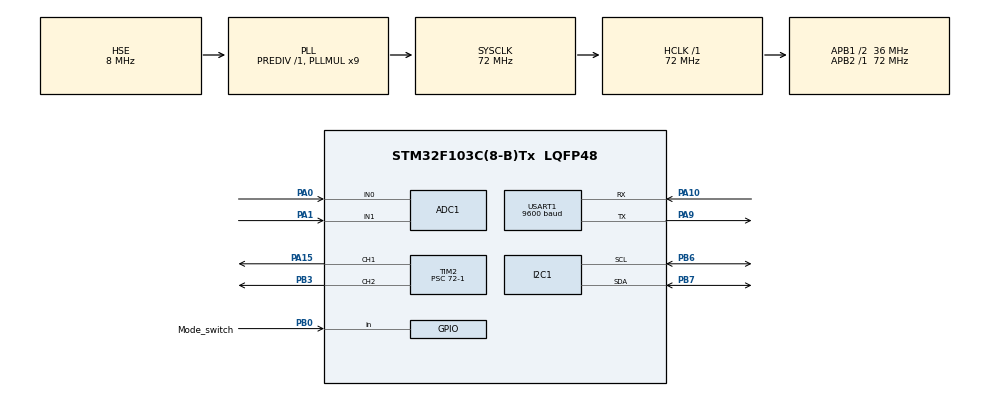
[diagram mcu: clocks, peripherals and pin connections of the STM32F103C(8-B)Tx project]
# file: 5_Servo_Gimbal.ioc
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ADC1.Channel-2\#ChannelRegularConversion=ADC_CHANNEL_0
ADC1.Channel-3\#ChannelRegularConversion=ADC_CHANNEL_0
ADC1.ContinuousConvMode=ENABLE
ADC1.NbrOfConversion=2
ADC1.NbrOfConversionFlag=1
ADC1.Rank-2\#ChannelRegularConversion=1
ADC1.Rank-3\#ChannelRegularConversion=2
ADC1.SamplingTime-2\#ChannelRegularConversion=ADC_SAMPLETIME_1CYCLE_5
ADC1.SamplingTime-3\#ChannelRegularConversion=ADC_SAMPLETIME_1CYCLE_5
ADC1.master=1
Dma.ADC1.4.Direction=DMA_PERIPH_TO_MEMORY
Dma.ADC1.4.Instance=DMA1_Channel1
Dma.ADC1.4.MemDataAlignment=DMA_MDATAALIGN_HALFWORD
Dma.ADC1.4.MemInc=DMA_MINC_ENABLE
Dma.ADC1.4.Mode=DMA_CIRCULAR
Dma.ADC1.4.PeriphDataAlignment=DMA_PDATAALIGN_HALFWORD
Dma.ADC1.4.PeriphInc=DMA_PINC_DISABLE
Dma.ADC1.4.Priority=DMA_PRIORITY_LOW
Dma.I2C1_RX.2.Direction=DMA_PERIPH_TO_MEMORY
Dma.I2C1_RX.2.Instance=DMA1_Channel7
Dma.I2C1_RX.2.MemDataAlignment=DMA_MDATAALIGN_BYTE
Dma.I2C1_RX.2.MemInc=DMA_MINC_ENABLE
Dma.I2C1_RX.2.Mode=DMA_NORMAL
Dma.I2C1_RX.2.PeriphDataAlignment=DMA_PDATAALIGN_BYTE
Dma.I2C1_RX.2.PeriphInc=DMA_PINC_DISABLE
Dma.I2C1_RX.2.Priority=DMA_PRIORITY_LOW
Dma.I2C1_TX.3.Direction=DMA_MEMORY_TO_PERIPH
Dma.I2C1_TX.3.Instance=DMA1_Channel6
Dma.I2C1_TX.3.MemDataAlignment=DMA_MDATAALIGN_BYTE
Dma.I2C1_TX.3.MemInc=DMA_MINC_ENABLE
Dma.I2C1_TX.3.Mode=DMA_NORMAL
Dma.I2C1_TX.3.PeriphDataAlignment=DMA_PDATAALIGN_BYTE
Dma.I2C1_TX.3.PeriphInc=DMA_PINC_DISABLE
Dma.I2C1_TX.3.Priority=DMA_PRIORITY_LOW
Dma.Request0=USART1_RX
Dma.Request1=USART1_TX
Dma.Request2=I2C1_RX
Dma.Request3=I2C1_TX
Dma.Request4=ADC1
Dma.USART1_RX.0.Direction=DMA_PERIPH_TO_MEMORY
Dma.USART1_RX.0.Instance=DMA1_Channel5
Dma.USART1_RX.0.MemDataAlignment=DMA_MDATAALIGN_BYTE
Dma.USART1_RX.0.MemInc=DMA_MINC_ENABLE
Dma.USART1_RX.0.Mode=DMA_NORMAL
Dma.USART1_RX.0.PeriphDataAlignment=DMA_PDATAALIGN_BYTE
Dma.USART1_RX.0.PeriphInc=DMA_PINC_DISABLE
Dma.USART1_RX.0.Priority=DMA_PRIORITY_LOW
Dma.USART1_TX.1.Direction=DMA_MEMORY_TO_PERIPH
Dma.USART1_TX.1.Instance=DMA1_Channel4
Dma.USART1_TX.1.MemDataAlignment=DMA_MDATAALIGN_BYTE
Dma.USART1_TX.1.MemInc=DMA_MINC_ENABLE
Dma.USART1_TX.1.Mode=DMA_NORMAL
Dma.USART1_TX.1.PeriphDataAlignment=DMA_PDATAALIGN_BYTE
Dma.USART1_TX.1.PeriphInc=DMA_PINC_DISABLE
Dma.USART1_TX.1.Priority=DMA_PRIORITY_LOW
FREERTOS.Tasks01=defaultTask,24,128,StartDefaultTask,Default,NULL,Dynamic,NULL,NULL
Mcu.Family=STM32F1
Mcu.Name=STM32F103C(8-B)Tx
Mcu.Package=LQFP48
NVIC.ADC1_2_IRQn=true\:5\:0\:false\:false\:true\:true\:true\:true\:true
NVIC.DMA1_Channel1_IRQn=true\:5\:0\:false\:false\:true\:true\:false\:true\:true
NVIC.DMA1_Channel4_IRQn=true\:5\:0\:false\:false\:true\:true\:false\:true\:true
NVIC.DMA1_Channel5_IRQn=true\:5\:0\:false\:false\:true\:true\:false\:true\:true
NVIC.DMA1_Channel6_IRQn=true\:5\:0\:false\:false\:true\:true\:false\:true\:true
NVIC.DMA1_Channel7_IRQn=true\:5\:0\:false\:false\:true\:true\:false\:true\:true
NVIC.I2C1_ER_IRQn=true\:5\:0\:false\:false\:true\:true\:true\:true\:true
NVIC.I2C1_EV_IRQn=true\:5\:0\:false\:false\:true\:true\:true\:true\:true
NVIC.PriorityGroup=NVIC_PRIORITYGROUP_4
NVIC.TIM4_IRQn=true\:15\:0\:false\:false\:true\:false\:false\:true\:true
NVIC.TimeBase=TIM4_IRQn
NVIC.TimeBaseIP=TIM4
NVIC.USART1_IRQn=true\:5\:0\:false\:false\:true\:true\:true\:true\:true
PA0-WKUP.Signal=ADCx_IN0
PA1.Signal=ADCx_IN1
PA10.Mode=Asynchronous
PA10.Signal=USART1_RX
PA13.Mode=Serial_Wire
PA13.Signal=SYS_JTMS-SWDIO
PA14.Mode=Serial_Wire
PA14.Signal=SYS_JTCK-SWCLK
PA15.Signal=S_TIM2_CH1_ETR
PA9.Mode=Asynchronous
PA9.Signal=USART1_TX
PB0.GPIO_Label=Mode_switch
PB0.GPIO_PuPd=GPIO_PULLUP
PB0.Signal=GPIO_Input
PB3.Signal=S_TIM2_CH2
PB6.Mode=I2C
PB6.Signal=I2C1_SCL
PB7.Mode=I2C
PB7.Signal=I2C1_SDA
PD0-OSC_IN.Mode=HSE-External-Oscillator
PD0-OSC_IN.Signal=RCC_OSC_IN
PD1-OSC_OUT.Mode=HSE-External-Oscillator
PD1-OSC_OUT.Signal=RCC_OSC_OUT
ProjectManager.HeapSize=0x200
ProjectManager.StackSize=0x400
ProjectManager.TargetToolchain=CMake
RCC.ADCPresc=RCC_ADCPCLK2_DIV6
RCC.AHBFreq_Value=72000000
RCC.APB1CLKDivider=RCC_HCLK_DIV2
RCC.APB1Freq_Value=36000000
RCC.APB1TimFreq_Value=72000000
RCC.APB2Freq_Value=72000000
RCC.APB2TimFreq_Value=72000000
RCC.HCLKFreq_Value=72000000
RCC.PLLMUL=RCC_PLL_MUL9
RCC.PLLSourceVirtual=RCC_PLLSOURCE_HSE
RCC.SYSCLKFreq_VALUE=72000000
RCC.SYSCLKSource=RCC_SYSCLKSOURCE_PLLCLK
RCC.USBFreq_Value=72000000
SH.ADCx_IN0.0=ADC1_IN0,IN0
SH.ADCx_IN1.0=ADC1_IN1,IN1
SH.S_TIM2_CH1_ETR.0=TIM2_CH1,PWM Generation1 CH1
SH.S_TIM2_CH2.0=TIM2_CH2,PWM Generation2 CH2
TIM2.Channel-PWM\ Generation1\ CH1=TIM_CHANNEL_1
TIM2.Channel-PWM\ Generation2\ CH2=TIM_CHANNEL_2
TIM2.Period=20000-1
TIM2.Prescaler=72-1
USART1.BaudRate=9600
USART1.VirtualMode=VM_ASYNC
VP_FREERTOS_VS_CMSIS_V2.Mode=CMSIS_V2
VP_SYS_VS_tim4.Mode=TIM4
board=custom

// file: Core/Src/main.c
/* USER CODE BEGIN Header */
/**
  ******************************************************************************
  * @file           : main.c
  * @brief          : Main program body
  ******************************************************************************
  * @attention
  *
  * Copyright (c) 2026 STMicroelectronics.
  * All rights reserved.
  *
  * This software is licensed under terms that can be found in the LICENSE file
  * in the root directory of this software component.
  * If no LICENSE file comes with this software, it is provided AS-IS.
  *
  ******************************************************************************
  */
/* USER CODE END Header */
#include "main.h"
#include "cmsis_os.h"
#include "adc.h"
#include "dma.h"
#include "i2c.h"
#include "tim.h"
#include "usart.h"
#include "gpio.h"

void SystemClock_Config(void);
void MX_FREERTOS_Init(void);

int main(void)
{

  /* MCU Configuration--------------------------------------------------------*/

  /* Reset of all peripherals, Initializes the Flash interface and the Systick. */
 HAL_Init();

  /* Configure the system clock */
  SystemClock_Config();

  /* Initialize all configured peripherals */
  MX_GPIO_Init();
  MX_DMA_Init();
  MX_ADC1_Init();
  MX_I2C1_Init();
  MX_USART1_UART_Init();
  MX_TIM2_Init();

  /* Init scheduler */
  osKernelInitialize();  /* Call init function for freertos objects (in cmsis_os2.c) */
  MX_FREERTOS_Init();

  /* Start scheduler */
  osKernelStart();

  /* We should never get here as control is now taken by the scheduler */

  /* Infinite loop */
  while (1)
  {

  }
}

void SystemClock_Config(void)
{
  RCC_OscInitTypeDef RCC_OscInitStruct = {0};
  RCC_ClkInitTypeDef RCC_ClkInitStruct = {0};
  RCC_PeriphCLKInitTypeDef PeriphClkInit = {0};

  /** Initializes the RCC Oscillators according to the specified parameters
  * in the RCC_OscInitTypeDef structure.
  */
  RCC_OscInitStruct.OscillatorType = RCC_OSCILLATORTYPE_HSE;
  RCC_OscInitStruct.HSEState = RCC_HSE_ON;
  RCC_OscInitStruct.HSEPredivValue = RCC_HSE_PREDIV_DIV1;
  RCC_OscInitStruct.HSIState = RCC_HSI_ON;
  RCC_OscInitStruct.PLL.PLLState = RCC_PLL_ON;
  RCC_OscInitStruct.PLL.PLLSource = RCC_PLLSOURCE_HSE;
  RCC_OscInitStruct.PLL.PLLMUL = RCC_PLL_MUL9;
  if (HAL_RCC_OscConfig(&RCC_OscInitStruct) != HAL_OK)
  {
    Error_Handler();
  }

  /** Initializes the CPU, AHB and APB buses clocks
  */
  RCC_ClkInitStruct.ClockType = RCC_CLOCKTYPE_HCLK|RCC_CLOCKTYPE_SYSCLK
                              |RCC_CLOCKTYPE_PCLK1|RCC_CLOCKTYPE_PCLK2;
  RCC_ClkInitStruct.SYSCLKSource = RCC_SYSCLKSOURCE_PLLCLK;
  RCC_ClkInitStruct.AHBCLKDivider = RCC_SYSCLK_DIV1;
  RCC_ClkInitStruct.APB1CLKDivider = RCC_HCLK_DIV2;
  RCC_ClkInitStruct.APB2CLKDivider = RCC_HCLK_DIV1;

  if (HAL_RCC_ClockConfig(&RCC_ClkInitStruct, FLASH_LATENCY_2) != HAL_OK)
  {
    Error_Handler();
  }
  PeriphClkInit.PeriphClockSelection = RCC_PERIPHCLK_ADC;
  PeriphClkInit.AdcClockSelection = RCC_ADCPCLK2_DIV6;
  if (HAL_RCCEx_PeriphCLKConfig(&PeriphClkInit) != HAL_OK)
  {
    Error_Handler();
  }
}

void HAL_TIM_PeriodElapsedCallback(TIM_HandleTypeDef *htim)
{
  if (htim->Instance == TIM4)
  {
    HAL_IncTick();
  }
}

void Error_Handler(void)
{
  __disable_irq();
  while (1)
  {
  }
}

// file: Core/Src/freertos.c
/* USER CODE BEGIN Header */
/**
  ******************************************************************************
  * File Name          : freertos.c
  * Description        : Code for freertos applications
  ******************************************************************************
  * @attention
  *
  * Copyright (c) 2026 STMicroelectronics.
  * All rights reserved.
  *
  * This software is licensed under terms that can be found in the LICENSE file
  * in the root directory of this software component.
  * If no LICENSE file comes with this software, it is provided AS-IS.
  *
  ******************************************************************************
  */
/* USER CODE END Header */

#include "FreeRTOS.h"
#include "task.h"
#include "main.h"
#include "cmsis_os.h"

/* USER CODE BEGIN Includes */
#include "servo.h"
#include "bluetooth.h"
#include "mpu6050.h"
/* USER CODE END Includes */

/* USER CODE BEGIN PTD */

/* 控制模式枚举（使用蓝牙驱动的定义） */
typedef BT_ControlMode_t ControlMode_t;
#define MODE_POTENTIOMETER BT_MODE_POTENTIOMETER
#define MODE_GYROSCOPE BT_MODE_GYROSCOPE

/* 控制数据结构（使用蓝牙驱动的定义） */
typedef BT_ControlPacket_t ControlData_t;

/* USER CODE END PTD */

/* USER CODE BEGIN PD */

/* 蓝牙数据包协议 */
/* USER CODE END PD */

/* USER CODE BEGIN Variables */

/* ==================== 主控端变量 ==================== */
#ifdef DEVICE_MASTER

/* 控制模式 */
static ControlMode_t g_control_mode = MODE_POTENTIOMETER;

/* ADC数据 */
static uint16_t g_adc_yaw_raw = 0;      // 水平电位器ADC原始值
static uint16_t g_adc_pitch_raw = 0;    // 俯仰电位器ADC原始值
static uint8_t g_adc_yaw_angle = 90;    // 水平角度
static uint8_t g_adc_pitch_angle = 90;  // 俯仰角度

/* MPU6050数据 */
static float g_mpu_yaw = 0.0f;          // 陀螺仪水平角度
static float g_mpu_pitch = 0.0f;        // 陀螺仪俯仰角度
static uint8_t g_mpu_yaw_angle = 90;
static uint8_t g_mpu_pitch_angle = 90;

/* 任务句柄 */
osThreadId_t AdcTaskHandle;
osThreadId_t Mpu6050TaskHandle;
osThreadId_t DataSendTaskHandle;
osThreadId_t ModeSwitchTaskHandle;

/* 信号量句柄 */
osSemaphoreId_t ModeSwitchSemHandle;

#endif  // DEVICE_MASTER

/* ==================== 从机端变量 ==================== */
#ifdef DEVICE_SLAVE

/* 接收数据缓冲区 */
/* 控制数据 */
static ControlData_t g_control_data = {0};

/* 任务句柄 */
osThreadId_t DataReceiveTaskHandle;
osThreadId_t ServoYawTaskHandle;
osThreadId_t ServoPitchTaskHandle;

/* 消息队列句柄 */
osMessageQueueId_t YawAngleQueueHandle;    // 水平角度队列
osMessageQueueId_t PitchAngleQueueHandle;  // 俯仰角度队列

#endif  // DEVICE_SLAVE

/* USER CODE END Variables */
/* Definitions for defaultTask */
osThreadId_t defaultTaskHandle;
const osThreadAttr_t defaultTask_attributes = {
  .name = "defaultTask",
  .stack_size = 128 * 4,
  .priority = (osPriority_t) osPriorityLow,
};

/* USER CODE BEGIN FunctionPrototypes */

/* ==================== 主控端任务函数 ==================== */
#ifdef DEVICE_MASTER
void Task_ADC_Read(void *argument);           // ADC采集任务
void Task_MPU6050_Read(void *argument);       // MPU6050读取任务
void Task_DataSend(void *argument);           // 数据发送任务
void Task_ModeSwitch(void *argument);         // 模式切换任务
#endif

/* ==================== 从机端任务函数 ==================== */
#ifdef DEVICE_SLAVE
void Task_DataReceive(void *argument);        // 数据接收任务
void Task_ServoYaw(void *argument);           // 水平舵机控制任务
void Task_ServoPitch(void *argument);         // 俯仰舵机控制任务
#endif

/* ==================== 通用工具函数 ==================== */
/* USER CODE END FunctionPrototypes */

void StartDefaultTask(void *argument);

void MX_FREERTOS_Init(void); /* (MISRA C 2004 rule 8.1) */

void MX_FREERTOS_Init(void) {

  /* USER CODE BEGIN RTOS_SEMAPHORES */
  /* add semaphores, ... */
  #ifdef DEVICE_MASTER
  /* 创建模式切换信号量 */
  ModeSwitchSemHandle = osSemaphoreNew(1, 0, NULL);
  #endif
  /* USER CODE END RTOS_SEMAPHORES */

  /* USER CODE BEGIN RTOS_QUEUES */
  /* add queues, ... */
  #ifdef DEVICE_SLAVE
  /* 创建角度控制消息队列 */
  YawAngleQueueHandle = osMessageQueueNew(10, sizeof(uint8_t), NULL);
  PitchAngleQueueHandle = osMessageQueueNew(10, sizeof(uint8_t), NULL);

  // 检查队列创建是否成功
  if(YawAngleQueueHandle == NULL || PitchAngleQueueHandle == NULL) {
    // 队列创建失败，进入死循环
    while(1);
  }
  #endif
  /* USER CODE END RTOS_QUEUES */

  /* Create the thread(s) */
  /* creation of defaultTask */
  defaultTaskHandle = osThreadNew(StartDefaultTask, NULL, &defaultTask_attributes);

  /* USER CODE BEGIN RTOS_THREADS */
  /* add threads, ... */

  /* ==================== 主控端任务创建 ==================== */
  #ifdef DEVICE_MASTER

  /* ADC采集任务 */
  const osThreadAttr_t adc_task_attributes = {
    .name = "AdcTask",
    .stack_size = 256 * 4,
    .priority = (osPriority_t) osPriorityNormal,
  };
  AdcTaskHandle = osThreadNew(Task_ADC_Read, NULL, &adc_task_attributes);

  /* MPU6050读取任务 */
  const osThreadAttr_t mpu_task_attributes = {
    .name = "Mpu6050Task",
    .stack_size = 512 * 4,  // 需要更大的栈，因为有浮点运算
    .priority = (osPriority_t) osPriorityNormal,
  };
  Mpu6050TaskHandle = osThreadNew(Task_MPU6050_Read, NULL, &mpu_task_attributes);

  /* 数据发送任务 */
  const osThreadAttr_t send_task_attributes = {
    .name = "DataSendTask",
    .stack_size = 256 * 4,
    .priority = (osPriority_t) osPriorityHigh,
  };
  DataSendTaskHandle = osThreadNew(Task_DataSend, NULL, &send_task_attributes);

  /* 模式切换任务 */
  const osThreadAttr_t mode_task_attributes = {
    .name = "ModeSwitchTask",
    .stack_size = 128 * 4,
    .priority = (osPriority_t) osPriorityNormal,
  };
  ModeSwitchTaskHandle = osThreadNew(Task_ModeSwitch, NULL, &mode_task_attributes);

  #endif  // DEVICE_MASTER

  /* ==================== 从机端任务创建 ==================== */
  #ifdef DEVICE_SLAVE

  /* 数据接收任务 */
  const osThreadAttr_t recv_task_attributes = {
    .name = "DataReceiveTask",
    .stack_size = 256 * 4,
    .priority = (osPriority_t) osPriorityRealtime,
  };
  DataReceiveTaskHandle = osThreadNew(Task_DataReceive, NULL, &recv_task_attributes);

  /* 水平舵机控制任务 */
  const osThreadAttr_t yaw_task_attributes = {
    .name = "ServoYawTask",
    .stack_size = 256 * 4,
    .priority = (osPriority_t) osPriorityHigh,
  };
  ServoYawTaskHandle = osThreadNew(Task_ServoYaw, NULL, &yaw_task_attributes);

  /* 俯仰舵机控制任务 */
  const osThreadAttr_t pitch_task_attributes = {
    .name = "ServoPitchTask",
    .stack_size = 256 * 4,
    .priority = (osPriority_t) osPriorityHigh,
  };
  ServoPitchTaskHandle = osThreadNew(Task_ServoPitch, NULL, &pitch_task_attributes);

  // 检查任务创建是否成功
  if(DataReceiveTaskHandle == NULL || ServoYawTaskHandle == NULL || ServoPitchTaskHandle == NULL) {
    // 任务创建失败，进入死循环
    while(1);
  }

  #endif  // DEVICE_SLAVE

  /* USER CODE END RTOS_THREADS */

}

void StartDefaultTask(void *argument)
{
  /* USER CODE BEGIN StartDefaultTask */

  #ifdef DEVICE_SLAVE
  /* 从机端：初始化舵机和蓝牙 */
  Servo_Init();
  BT_Init();
  #endif

  #ifdef DEVICE_MASTER
  /* 主控端：初始化蓝牙 */
  BT_Init();
  #endif

  /* Infinite loop */
  for(;;)
  {
    osDelay(1);
  }
  /* USER CODE END StartDefaultTask */
}

/* USER CODE BEGIN Application */

/* ==================== 从机端任务实现 ==================== */
#ifdef DEVICE_SLAVE

/**
 * @brief 数据接收任务 - 接收并解析蓝牙数据
 * @param argument: 未使用
 */
void Task_DataReceive(void *argument)
{
    uint8_t rx_byte;
    ControlData_t ctrl_data;

    osDelay(100);  // 等待初始化完成

    for(;;)
    {
        // 非阻塞接收单字节
        if(BT_ReceiveByte(&rx_byte) == 0)
        {
            // 状态机解析数据包
            BT_RxState_t state = BT_ParseByte(rx_byte, &ctrl_data);

            if(state == BT_RX_STATE_COMPLETE)
            {
                // 数据包接收完成，直接控制舵机
                Servo_SetAngle(SERVO_YAW, ctrl_data.yaw);
                Servo_SetAngle(SERVO_PITCH, ctrl_data.pitch);

                // 发送到队列供其他任务使用
                osMessageQueuePut(YawAngleQueueHandle, &ctrl_data.yaw, 0, 0);
                osMessageQueuePut(PitchAngleQueueHandle, &ctrl_data.pitch, 0, 0);

                // 重置状态机
                BT_ResetRxState();
            }
            else if(state == BT_RX_STATE_ERROR)
            {
                // 接收出错，重置
                BT_ResetRxState();
            }
        }

        // 高速接收，减少延时避免DMA缓冲区溢出
        osDelay(0);  // 让出CPU但不强制延时
    }
}

/**
 * @brief 水平舵机控制任务 - 独立控制Yaw舵机
 * @param argument: 未使用
 */
void Task_ServoYaw(void *argument)
{
    uint8_t yaw_angle;
    osStatus_t status;

    for(;;)
    {
        // 等待水平角度数据
        status = osMessageQueueGet(YawAngleQueueHandle, &yaw_angle, NULL, 100);

        if(status == osOK)
        {
            Servo_SetAngle(SERVO_YAW, yaw_angle);
        }

        osDelay(10);
    }
}

/**
 * @brief 俯仰舵机控制任务 - 独立控制Pitch舵机
 * @param argument: 未使用
 */
void Task_ServoPitch(void *argument)
{
    uint8_t pitch_angle;
    osStatus_t status;

    for(;;)
    {
        // 等待俯仰角度数据
        status = osMessageQueueGet(PitchAngleQueueHandle, &pitch_angle, NULL, 100);

        if(status == osOK)
        {
            Servo_SetAngle(SERVO_PITCH, pitch_angle);
        }

        osDelay(10);
    }
}

#endif  // DEVICE_SLAVE

/* ==================== 主控端任务实现 ==================== */
#ifdef DEVICE_MASTER

/**
 * @brief ADC采集任务 - 读取两个电位器的值
 * @param argument: 未使用
 */
void Task_ADC_Read(void *argument)
{
    extern ADC_HandleTypeDef hadc1;
    uint16_t adc_values[2];  // 存储ADC1的双通道数据

    // 启动ADC的DMA循环采集
    HAL_ADC_Start_DMA(&hadc1, (uint32_t*)adc_values, 2);

    for(;;)
    {
        // ADC已配置为DMA循环模式，数据自动更新到adc_values
        // 将ADC值(0-4095)映射到角度(0-180)
        g_adc_yaw_raw = adc_values[0];
        g_adc_pitch_raw = adc_values[1];

        g_adc_yaw_angle = (uint8_t)((g_adc_yaw_raw * 180) / 4095);
        g_adc_pitch_angle = (uint8_t)((g_adc_pitch_raw * 180) / 4095);

        osDelay(20);  // 50Hz采样率
    }
}

/**
 * @brief MPU6050读取任务 - 读取陀螺仪姿态
 * @param argument: 未使用
 */
void Task_MPU6050_Read(void *argument)
{
    MPU6050_RawData_t raw_data;
    MPU6050_Attitude_t attitude;

    // 初始化MPU6050
    if(MPU6050_Init() != 0) {
        // 初始化失败，使用默认值
        g_mpu_yaw_angle = 90;
        g_mpu_pitch_angle = 90;

        for(;;) {
            osDelay(100);
        }
    }

    for(;;)
    {
        // 读取原始数据
        if(MPU6050_ReadRawData(&raw_data) == 0) {
            // 计算姿态角（dt=10ms=0.01s）
            MPU6050_CalculateAttitude(&raw_data, &attitude, 0.01f);

            // 根据实际安装方向调整映射：
            // ROLL角控制Pitch舵机（前后俯仰）：-90° ~ +90° 映射到 30° ~ 140°
            // PITCH角控制Yaw舵机（左右倾斜）：-90° ~ +90° 映射到 0° ~ 180°

            // 限幅并映射ROLL角到Pitch舵机
            float roll_limited = attitude.roll;
            if(roll_limited < -90.0f) roll_limited = -90.0f;
            if(roll_limited > 90.0f) roll_limited = 90.0f;
            g_mpu_pitch_angle = (uint8_t)((roll_limited + 90.0f) * 110.0f / 180.0f + 30.0f);

            // 限幅并映射PITCH角到Yaw舵机
            float pitch_limited = attitude.pitch;
            if(pitch_limited < -90.0f) pitch_limited = -90.0f;
            if(pitch_limited > 90.0f) pitch_limited = 90.0f;
            g_mpu_yaw_angle = (uint8_t)((pitch_limited + 90.0f));
        } else {
            // 读取失败，保持上次的值
        }

        osDelay(10);  // 100Hz采样率
    }
}

/**
 * @brief 数据发送任务 - 通过蓝牙发送控制数据
 * @param argument: 未使用
 */
void Task_DataSend(void *argument)
{
    uint8_t yaw, pitch;
    BT_ControlMode_t mode;

    for(;;)
    {
        // 根据当前模式选择数据源
        if(g_control_mode == MODE_POTENTIOMETER) {
            mode = BT_MODE_POTENTIOMETER;
            yaw = g_adc_yaw_angle;
            pitch = g_adc_pitch_angle;
        } else {
            mode = BT_MODE_GYROSCOPE;
            yaw = g_mpu_yaw_angle;
            pitch = g_mpu_pitch_angle;
        }

        // 发送数据包
        BT_SendPacket(mode, yaw, pitch);

        osDelay(50);  // 20Hz发送频率
    }
}

/**
 * @brief 模式切换任务 - 处理电位器/陀螺仪模式切换
 * @param argument: 未使用
 */
void Task_ModeSwitch(void *argument)
{
    for(;;)
    {
        // 等待按钮信号量（在GPIO中断中释放）
        if(osSemaphoreAcquire(ModeSwitchSemHandle, osWaitForever) == osOK)
        {
            // 切换模式
            if(g_control_mode == MODE_POTENTIOMETER) {
                g_control_mode = MODE_GYROSCOPE;
            } else {
                g_control_mode = MODE_POTENTIOMETER;
            }
        }
    }
}

#endif  // DEVICE_MASTER

/* USER CODE END Application */
